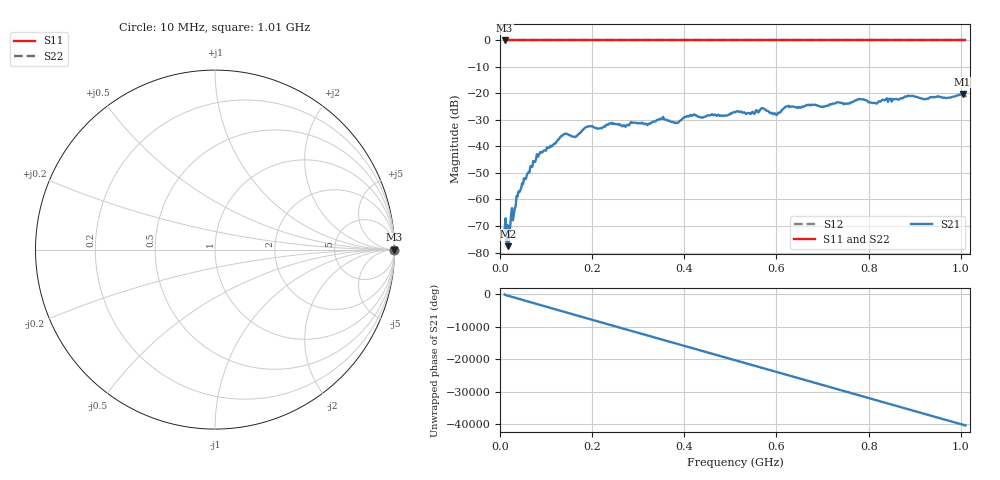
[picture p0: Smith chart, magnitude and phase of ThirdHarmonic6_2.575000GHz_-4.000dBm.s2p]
! 8/17/2025 5:24:49 AM
! C:\ANRITSUVNA\TEMP\TEMP.S2P
! CHANNEL.1
! TR.MEASUREMENT
! RAW.DATA
! RF.CORRECTION.OFF
! AVERAGING.OFF
! IF.BANDWIDTH: 5KHZ
! SWEEPTYPE:  FREQ.SWEEP(Linear)
! Reference Plane Port Info
! PORT:  PORT1  PORT2
! DISTANCE:  0  m  0  m
! TIME:  0  s  0  s
! PHASE.OFFSET:  0  deg.  0  deg.
! LOSS:  0  dB  0  dB
! REF.LOSS:  0  dB  0  dB
! REF.FREQ:  0  Hz  0  Hz
! Power Info
! POWER:  -20  dBm  -20  dBm
! EFF.POWER:  -20  dBm  -20  dBm
! SOURCE.ATTEN:  0  dB  0  dB
! TEST.ATTEN:  0  dB  0  dB
# GHZ S RI R 50.0
! FREQ.GHZ  S11RE  S11IM  S21RE  S21IM  S12RE  S12IM  S22RE  S22IM
!; PortSelection: Port_12
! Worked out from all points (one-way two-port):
!   501 points, 10 MHz to 1.01 GHz, reference 50 ohm
!   highest |S21| = -20.20 dB at 1.004 GHz (marker M1); lowest = -77.6 dB at 18 MHz (marker M2)
!   lowest |S11| = 0.0 dB at 10 MHz (marker M3)
!   |S11| at or under -10 dB: nowhere
!   |S22| runs from 0.0 to 0.0 dB; largest |S21 - S12| = 1.1
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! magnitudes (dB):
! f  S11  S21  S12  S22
! 10 MHz  0.0  -71.3  0.0  0.0
! 18 MHz  0.0  -77.6  0.0  0.0
! 40 MHz  0.0  -57.0  0.0  0.0
! 84 MHz  0.0  -43.4  0.0  0.0
! 138 MHz  0.0  -35.4  0.0  0.0
! 162 MHz  0.0  -36.4  0.0  0.0
! 178 MHz  0.0  -34.0  0.0  0.0
! 192 MHz  0.0  -32.3  0.0  0.0
! 322 MHz  0.0  -31.6  0.0  0.0
! 344 MHz  0.0  -29.9  0.0  0.0
! 382 MHz  0.0  -31.0  0.0  0.0
! 418 MHz  0.0  -28.3  0.0  0.0
! 488 MHz  0.0  -28.3  0.0  0.0
! 510 MHz  0.0  -27.1  0.0  0.0
! 548 MHz  0.0  -26.9  0.0  0.0
! 570 MHz  0.0  -25.5  0.0  0.0
! 598 MHz  0.0  -27.8  0.0  0.0
! 622 MHz  0.0  -24.9  0.0  0.0
! 678 MHz  0.0  -24.4  0.0  0.0
! 844 MHz  0.0  -22.0  0.0  0.0
! 1.004 GHz  0.0  -20.2  0.0  0.0
! 1.01 GHz  0.0  -21.0  0.0  0.0
